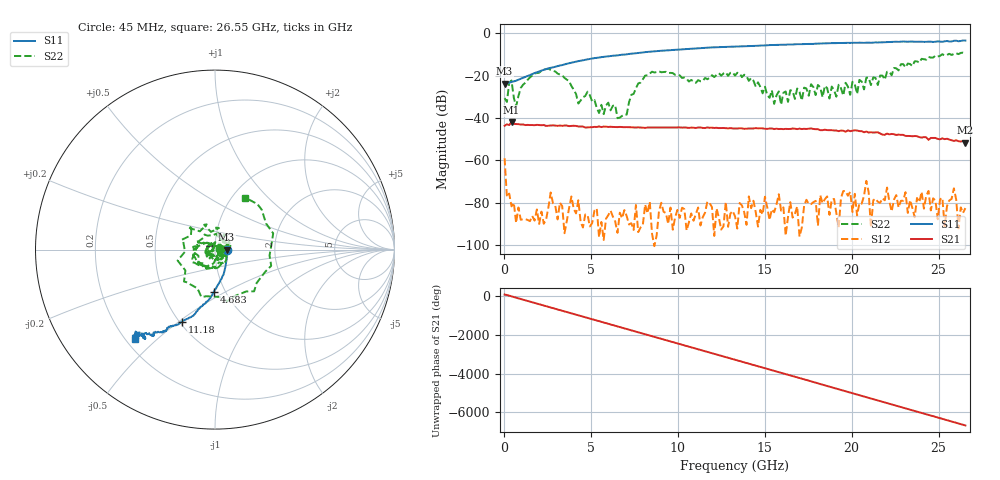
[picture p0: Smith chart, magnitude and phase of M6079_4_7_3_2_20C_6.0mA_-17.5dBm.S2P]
!  2-Port S-parameters saved by WinCal
! VAR MeasName=S-Parameters (CALIBRATED_DATA) read from VNA (C)
! VAR MeasDate=10/5/2015 4:58:02 PM
! VAR NAME=M6079_4_7_3_2_20C_6.0mA_-17.5dBm
! VAR FILENAME=M6079_4_7_3_2_20C_6.0mA_-17.5dBm.S2P
! VAR DATE=10/5/2015 4:58:02 PM
! VAR PHYS_PORTS=2,1
! VAR ObjTypeName=DATASET
! VAR IndexType=Frequency
# Hz S RI R 50
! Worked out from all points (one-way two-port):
!   201 points, 45 MHz to 26.55 GHz, reference 50 ohm
!   highest |S21| = -41.99 dB at 442.5 MHz (marker M1); lowest = -51.6 dB at 26.55 GHz (marker M2)
!   lowest |S11| = -23.8 dB at 45 MHz (marker M3), VSWR 1.14, Z = 56.9 - j0.0859 ohm
!   |S11| at or under -10 dB: start of sweep to 7.066 GHz
!   |S22| runs from -40.1 to -9.2 dB; largest |S21 - S12| = 0.0079
!   S11 on the Smith chart (normalised r, x): 45 MHz: 1.14, -0.00; 4.683 GHz: 0.89, -0.44; 11.18 GHz: 0.52, -0.51; 26.55 GHz: 0.24, -0.42
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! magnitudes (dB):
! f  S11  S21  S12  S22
! 45 MHz  -23.8  -43.7  -59.0  -30.6
! 177.5 MHz  -23.6  -43.0  -77.3  -32.4
! 442.5 MHz  -23.1  -42.0  -81.7  -22.3
! 707.5 MHz  -22.4  -42.9  -89.5  -34.6
! 2.43 GHz  -17.0  -43.8  -88.0  -16.9
! 4.55 GHz  -12.8  -44.1  -91.7  -30.2
! 4.683 GHz  -12.6  -44.5  -85.5  -29.7
! 6.67 GHz  -10.3  -44.2  -84.7  -39.9
! 8.922 GHz  -8.4  -44.5  -84.0  -18.0
! 11.18 GHz  -7.1  -44.5  -82.3  -22.2
! 13.29 GHz  -6.3  -45.0  -86.4  -20.0
! 15.55 GHz  -5.6  -45.3  -84.5  -33.4
! 17.8 GHz  -5.1  -45.2  -79.8  -25.4
! 18.73 GHz  -4.8  -45.8  -85.7  -30.9
! 20.58 GHz  -4.5  -46.2  -80.5  -22.9
! 20.85 GHz  -4.5  -46.4  -69.7  -21.0
! 21.11 GHz  -4.6  -46.7  -91.7  -24.5
! 22.04 GHz  -4.2  -47.4  -72.8  -18.2
! 22.17 GHz  -4.2  -47.8  -79.5  -18.3
! 25.48 GHz  -3.7  -49.8  -81.6  -10.3
! 25.88 GHz  -3.6  -50.8  -73.2  -9.8
! 26.55 GHz  -3.5  -51.6  -82.5  -9.5
